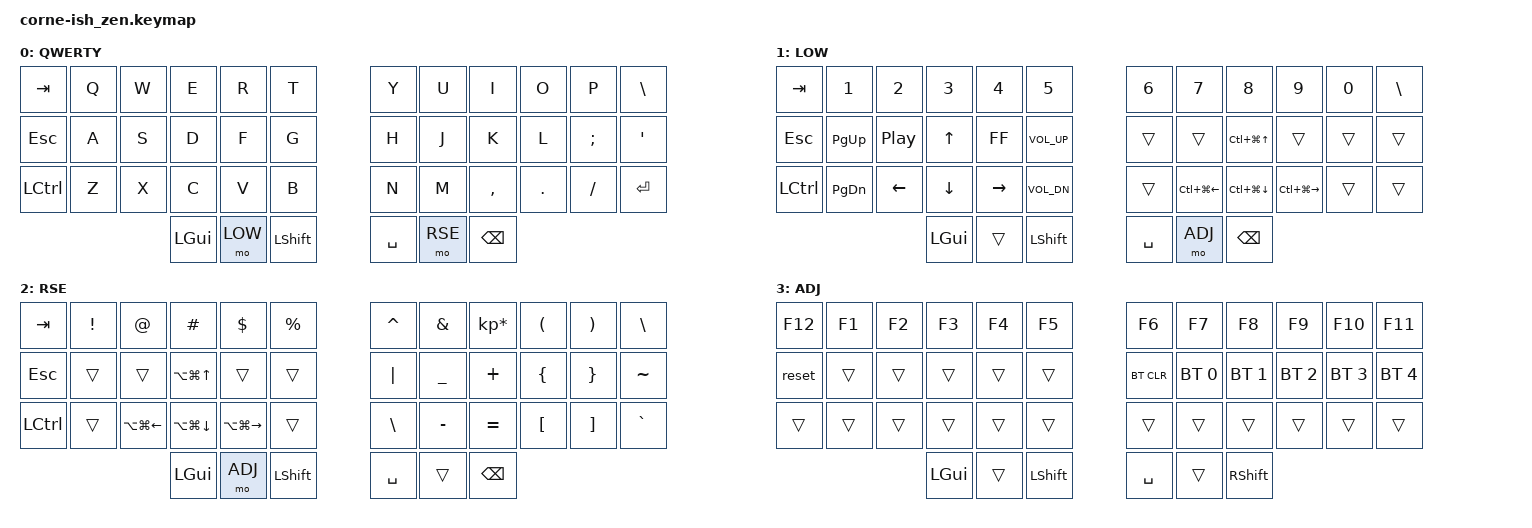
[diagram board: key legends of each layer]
/*
*
* Copyright (c) 2021 Darryl deHaan
* SPDX-License-Identifier: MIT
*
*/

#include <behaviors.dtsi>
#include <dt-bindings/zmk/keys.h>
#include <dt-bindings/zmk/bt.h>

#define QWERTY 0
#define LOW    1
#define RSE    2
#define ADJ    3

/ {
        keymap {
                compatible = "zmk,keymap";

                default_layer {
                        label = "QWERTY";
                        bindings = <
    &kp TAB   &kp Q &kp W &kp E &kp R    &kp T                          &kp Y   &kp U    &kp I    &kp O   &kp P    &kp BSLH
    &kp ESC   &kp A &kp S &kp D &kp F    &kp G                          &kp H   &kp J    &kp K    &kp L   &kp SEMI &kp APOS
    &kp LCTL  &kp Z &kp X &kp C &kp V    &kp B                          &kp N   &kp M    &kp CMMA &kp DOT &kp FSLH &kp RET
                                &kp LGUI &mo LOW &kp LSHFT      &kp SPC &mo RSE &kp BSPC
                        >;
                };

                lower {
                        label = "LOW";
                        bindings = <
    &kp TAB   &kp N1    &kp N2   &kp N3   &kp N4    &kp N5                                    &kp N6  &kp N7           &kp N8           &kp N9            &kp N0 &kp BSLH
    &kp ESC   &kp PG_UP &kp C_PP &kp UP   &kp C_FF  &kp C_VOL_UP                              &trans  &trans           &kp LC(LG(UP))   &trans            &trans &trans
    &kp LCTRL &kp PG_DN &kp LEFT &kp DOWN &kp RIGHT &kp C_VOL_DN                              &trans  &kp LC(LG(LEFT)) &kp LC(LG(DOWN)) &kp LC(LG(RIGHT)) &trans &trans
                                          &kp LGUI  &trans       &kp LSHFT         &kp SPACE  &mo ADJ &kp BSPC
                        >;
                };

                raise {
                        label = "RSE";
                        bindings = <
    &kp  TAB  &kp EXCL  &kp AT           &kp HASH         &kp DLLR          &kp PRCNT                           &kp CARET &kp AMPS  &kp KP_MULTIPLY &kp LPAR &kp RPAR &kp BSLH
    &kp  ESC  &trans    &trans           &kp LA(LG(UP))   &trans            &trans                              &kp PIPE  &kp UNDER &kp PLUS        &kp LBRC &kp RBRC &kp TILDE
    &kp LCTRL &trans    &kp LA(LG(LEFT)) &kp LA(LG(DOWN)) &kp LA(LG(RIGHT)) &trans                              &kp BSLH  &kp MINUS &kp EQUAL       &kp LBKT &kp RBKT &kp GRAVE
                                                          &kp LGUI          &mo ADJ   &kp LSHFT       &kp SPACE &trans    &kp BSPC
                        >;
                };

                adjust {
                        label = "ADJ";
                        bindings = <
    &kp F12 &kp F1 &kp F2 &kp F3 &kp F4   &kp F5                         &kp F6     &kp F7       &kp F8       &kp F9       &kp F10      &kp F11
    &reset  &trans &trans &trans &trans   &trans                         &bt BT_CLR &bt BT_SEL 0 &bt BT_SEL 1 &bt BT_SEL 2 &bt BT_SEL 3 &bt BT_SEL 4
    &trans  &trans &trans &trans &trans   &trans                         &trans     &trans       &trans       &trans       &trans       &trans
                                 &kp LGUI &trans &kp LSHFT     &kp SPACE &trans     &kp RSHFT
                        >;
                };
        };
};
